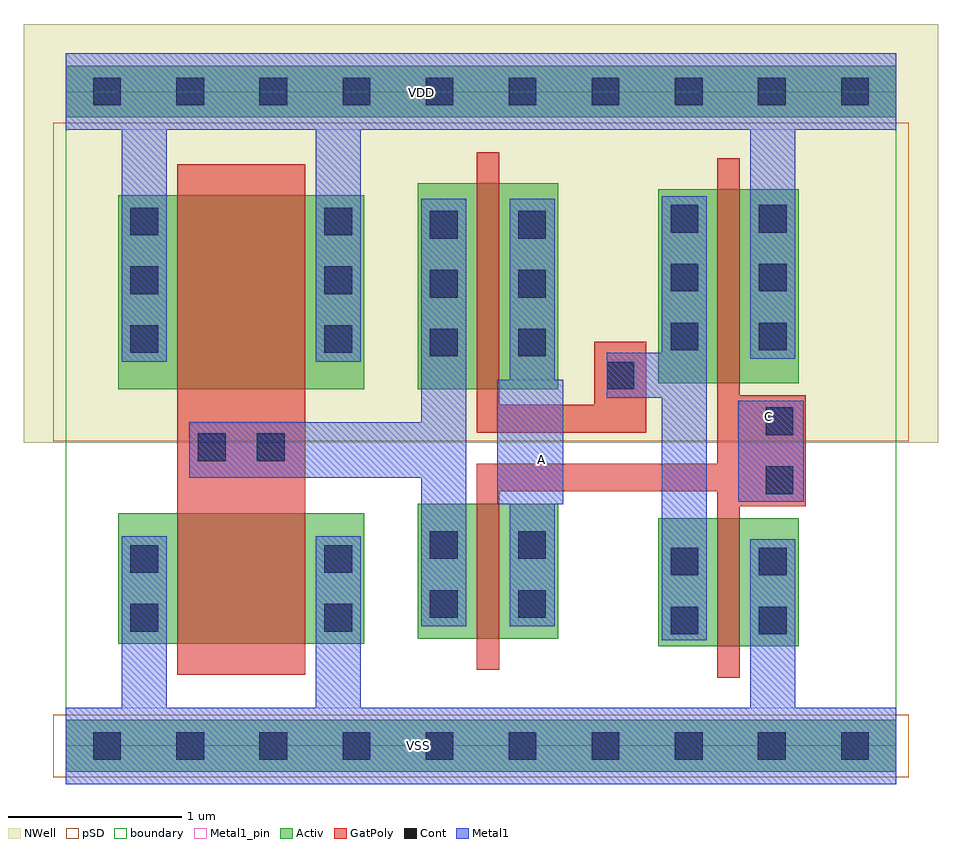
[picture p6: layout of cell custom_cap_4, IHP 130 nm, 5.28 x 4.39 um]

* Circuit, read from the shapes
.subckt custom_cap_4 A C VDD VSS
XM1 VSS n1 VSS VSS sg13_lv_nmos w=0.755u l=0.74u
XM2 A C n1 VSS sg13_lv_nmos w=0.78u l=0.13u
XM3 VSS C n2 VSS sg13_lv_nmos w=0.74u l=0.13u
XM4 VDD n1 VDD VDD sg13_lv_pmos w=1.12u l=0.74u
XM5 A n2 n1 VDD sg13_lv_pmos w=1.19u l=0.13u
XM6 VDD C n2 VDD sg13_lv_pmos w=1.12u l=0.13u
.ends

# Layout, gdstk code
import gdstk
lib = gdstk.Library(unit=1e-6, precision=1e-09)
def R(c, l, rs):  # rectangles x0, y0, x1, y1
    for r in rs: c.add(gdstk.rectangle(r[:2], r[2:], *l))
def A(c, l, x, y, w, h, nx, ny, dx, dy):  # array of equal rectangles
    R(c, l, [(x+i*dx, y+j*dy, x+i*dx+w, y+j*dy+h) for i in range(nx) for j in range(ny)])
def P(c, l, *ps):  # polygons
    for p in ps: c.add(gdstk.Polygon(p, *l))
Activ = (1, 0)
GatPoly = (5, 0)
Cont = (6, 0)
Metal1 = (8, 0)
Metal1_pin = (8, 2)
pSD = (14, 0)
NWell = (31, 0)
boundary = (189, 4)

custom_cap_4 = lib.new_cell('custom_cap_4')
R(custom_cap_4, Activ, [(0,-0.15,4.8,0.15), (3.425,0.575,4.235,1.315), (0.305,0.59,1.725,1.345), (2.035,0.62,2.845,1.4), (0.305,2.06,1.725,3.18), (2.035,2.06,2.845,3.25), (3.425,2.095,4.235,3.215), (0,3.63,4.8,3.93)])
R(custom_cap_4, GatPoly, [(0.645,0.41,1.385,3.36)])
P(custom_cap_4, GatPoly, [(2.375,1.81),(2.375,3.43),(2.505,3.43),(2.505,1.97),(3.055,1.97),(3.055,2.335),(3.355,2.335),(3.355,1.81)],
  [(3.765,0.395),(3.765,1.47),(2.505,1.47),(2.505,0.44),(2.375,0.44),(2.375,1.63),(3.765,1.63),(3.765,3.395),(3.895,3.395),(3.895,2.025),(4.275,2.025),(4.275,1.385),(3.895,1.385),(3.895,0.395)])
A(custom_cap_4, Cont, 0.16, -0.08, 0.16, 0.16, 3, 2, 0.48, 3.78)
A(custom_cap_4, Cont, 2.105, 2.25, 0.16, 0.16, 1, 3, 0, 0.34)
A(custom_cap_4, Cont, 2.615, 2.25, 0.16, 0.16, 1, 3, 0, 0.34)
A(custom_cap_4, Cont, 0.375, 2.27, 0.16, 0.16, 1, 3, 0, 0.34)
A(custom_cap_4, Cont, 1.495, 2.27, 0.16, 0.16, 1, 3, 0, 0.34)
A(custom_cap_4, Cont, 3.495, 2.285, 0.16, 0.16, 1, 3, 0, 0.34)
A(custom_cap_4, Cont, 4.005, 2.285, 0.16, 0.16, 1, 3, 0, 0.34)
R(custom_cap_4, Cont, [(1.12,-0.08,1.28,0.08), (1.6,-0.08,1.76,0.08), (1.6,-0.08,1.76,0.08), (2.08,-0.08,2.24,0.08), (2.08,-0.08,2.24,0.08), (2.56,-0.08,2.72,0.08), (2.56,-0.08,2.72,0.08), (3.04,-0.08,3.2,0.08), (3.04,-0.08,3.2,0.08), (3.52,-0.08,3.68,0.08), (3.52,-0.08,3.68,0.08), (4,-0.08,4.16,0.08), (4,-0.08,4.16,0.08), (4.48,-0.08,4.64,0.08), (3.495,0.645,3.655,0.805), (4.005,0.645,4.165,0.805), (0.375,0.66,0.535,0.82), (1.495,0.66,1.655,0.82), (2.105,0.74,2.265,0.9), (2.615,0.74,2.775,0.9), (3.495,0.985,3.655,1.145), (4.005,0.985,4.165,1.145), (0.375,1,0.535,1.16), (1.495,1,1.655,1.16), (2.105,1.08,2.265,1.24), (2.615,1.08,2.775,1.24), (4.045,1.455,4.205,1.615), (0.765,1.645,0.925,1.805), (1.105,1.645,1.265,1.805), (4.045,1.795,4.205,1.955), (3.125,2.06,3.285,2.22), (1.12,3.7,1.28,3.86), (1.6,3.7,1.76,3.86), (1.6,3.7,1.76,3.86), (2.08,3.7,2.24,3.86), (2.08,3.7,2.24,3.86), (2.56,3.7,2.72,3.86), (2.56,3.7,2.72,3.86), (3.04,3.7,3.2,3.86), (3.04,3.7,3.2,3.86), (3.52,3.7,3.68,3.86), (3.52,3.7,3.68,3.86), (4,3.7,4.16,3.86), (4,3.7,4.16,3.86), (4.48,3.7,4.64,3.86)])
R(custom_cap_4, Metal1, [(3.885,1.41,4.265,1.995)])
P(custom_cap_4, Metal1, [(0.325,2.22),(0.325,3.56),(0,3.56),(0,4),(4.8,4),(4.8,3.56),(4.215,3.56),(4.215,2.235),(3.955,2.235),(3.955,3.56),(1.705,3.56),(1.705,2.22),(1.445,2.22),(1.445,3.56),(0.585,3.56),(0.585,2.22)],
  [(0,-0.22),(0,0.22),(0.325,0.22),(0.325,1.21),(0.585,1.21),(0.585,0.22),(1.445,0.22),(1.445,1.21),(1.705,1.21),(1.705,0.22),(3.955,0.22),(3.955,1.195),(4.215,1.195),(4.215,0.22),(4.8,0.22),(4.8,-0.22)],
  [(2.055,0.69),(2.055,1.55),(0.715,1.55),(0.715,1.87),(2.055,1.87),(2.055,3.16),(2.315,3.16),(2.315,0.69)],
  [(2.565,0.69),(2.565,1.395),(2.495,1.395),(2.495,2.115),(2.565,2.115),(2.565,3.16),(2.825,3.16),(2.825,2.115),(2.875,2.115),(2.875,1.395),(2.825,1.395),(2.825,0.69)],
  [(3.445,0.61),(3.445,2.01),(3.125,2.01),(3.125,2.27),(3.445,2.27),(3.445,3.175),(3.705,3.175),(3.705,0.61)])
R(custom_cap_4, Metal1_pin, [(0,-0.22,4.8,0.22), (2.495,1.395,2.875,2.115), (3.885,1.41,4.265,1.995), (0,3.56,4.8,4)])
R(custom_cap_4, pSD, [(-0.07,-0.18,4.87,0.18), (-0.07,1.76,4.87,3.6)])
R(custom_cap_4, NWell, [(-0.24,1.75,5.04,4.17)])
R(custom_cap_4, boundary, [(0,0,4.8,3.78)])
custom_cap_4.add(gdstk.Label('C', (4.06,1.9), layer=8, texttype=25))
custom_cap_4.add(gdstk.Label('A', (2.75,1.655), layer=8, texttype=25))
custom_cap_4.add(gdstk.Label('VSS', (2.04,0.005), layer=8, texttype=25))
custom_cap_4.add(gdstk.Label('VDD', (2.055,3.775), layer=8, texttype=25))

lib.write_gds('custom_cap_4.gds')
